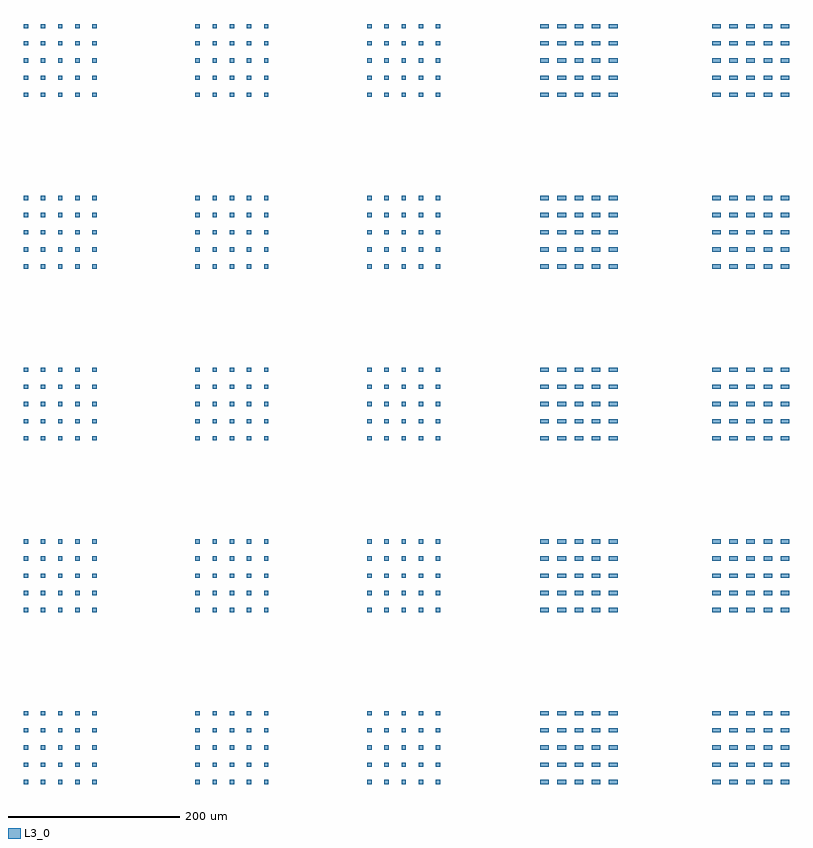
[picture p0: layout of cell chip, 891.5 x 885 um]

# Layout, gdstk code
import gdstk
lib = gdstk.Library(unit=1e-6, precision=1e-09)
def R(c, l, rs):  # rectangles x0, y0, x1, y1
    for r in rs: c.add(gdstk.rectangle(r[:2], r[2:], *l))
L3_0 = (3, 0)

cell1 = lib.new_cell('cell1')
R(cell1, L3_0, [(-5,-5,0,0)])

device = lib.new_cell('device')
r = gdstk.Reference(cell1, (0,0)); r.repetition = gdstk.Repetition(5, 5, v1=(20,0), v2=(0,20)); device.add(r)

cell1_1 = lib.new_cell('cell1$1')
R(cell1_1, L3_0, [(-7.5,-5,2.5,0)])

device_1 = lib.new_cell('device$1')
r = gdstk.Reference(cell1_1, (0,0)); r.repetition = gdstk.Repetition(5, 5, v1=(20,0), v2=(0,20)); device_1.add(r)

chip = lib.new_cell('chip')
r = gdstk.Reference(device, (-52,-362)); r.repetition = gdstk.Repetition(3, 5, v1=(200,0), v2=(0,200)); chip.add(r)
r = gdstk.Reference(device_1, (552,-362)); r.repetition = gdstk.Repetition(2, 5, v1=(200,0), v2=(0,200)); chip.add(r)

lib.write_gds('chip.gds')
